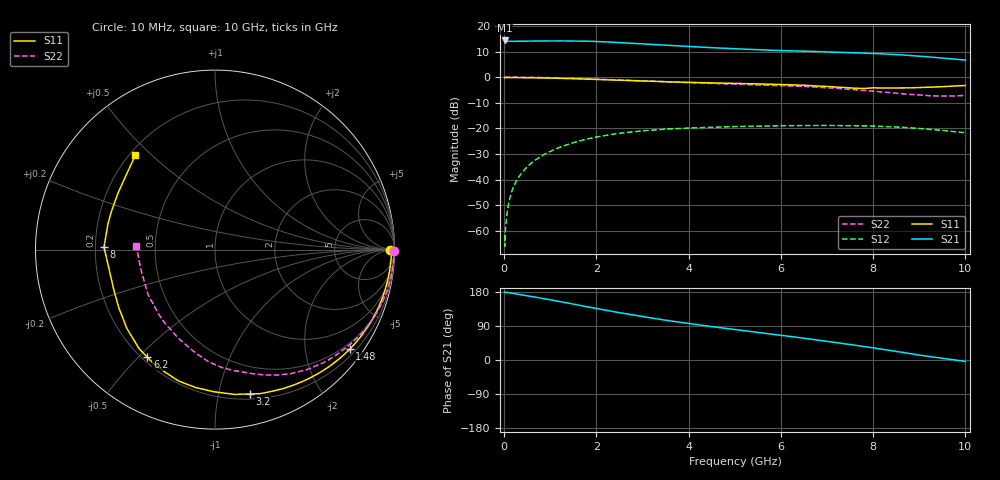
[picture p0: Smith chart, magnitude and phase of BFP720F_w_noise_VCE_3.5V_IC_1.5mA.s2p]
! Infineon Technologies  Discrete & RF Semiconductors
! BFP720F
! VCE =  3.5 V,  IC =  1.5 mA
! Common Emitter S-Parameters:  Jan 2016
# GHz  S  MA  R  50
!  f  S11  S21  S12  S22
! GHz  MAG  ANG  MAG  ANG  MAG  ANG  MAG  ANG
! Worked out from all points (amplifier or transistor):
!   233 points, 10 MHz to 10 GHz, reference 50 ohm
!   highest |S21| = 14.3 dB at 10 MHz (marker M1)
!   |S21| within 3 dB of that: start of sweep to 4.698 GHz
!   unconditionally stable (mu >= 1): nowhere
!   at 200 MHz: K = 0.02, MSG = 28.5 dB, |S12| = -43.0 dB
!   at 1.74 GHz: K = 0.13, MSG = 19.3 dB, |S12| = -24.4 dB
!   at 10 GHz: K = 0.99, MSG = 14.2 dB, |S12| = -21.7 dB
!   lowest NFmin = 0.44 dB at 450 MHz
!   S11 on the Smith chart (normalised r, x): 10 MHz: 84, +0; 1.48 GHz: 0.35, -3.00; 3.2 GHz: 0.24, -1.24; 6.2 GHz: 0.22, -0.53; 8 GHz: 0.24, +0.01; 10 GHz: 0.22, +0.45
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0.01  0.9766 0.0  5.206 179.5  0.0008 -26.2  0.9984 -0.3
0.015  0.9797 -0.2  5.08 178.8  0.0005 25.2  0.9992 -0.7
0.02  0.9829 -0.4  4.955 178.0  0.0008 76.6  1 -1.0
0.06  0.9833 -1.4  4.996 178.4  0.0021 83.9  0.9979 -1.1
0.135  0.9822 -3.1  5.016 177.0  0.0048 86.4  0.9984 -2.3
0.34  0.9789 -8.1  5.036 172.8  0.012 83.6  0.9949 -5.9
0.94  0.9606 -22.8  5.117 160.1  0.0334 72.8  0.979 -16.6
1.48  0.9334 -36.5  5.071 148.0  0.0518 62.2  0.9506 -26.6
1.68  0.92 -41.9  5.084 143.2  0.0583 58.1  0.9374 -30.4
2.38  0.8748 -59.0  4.799 127.4  0.0774 44.1  0.8872 -42.9
2.8  0.8501 -68.4  4.584 118.6  0.0858 36.3  0.8549 -49.5
3.2  0.8274 -76.5  4.365 110.9  0.092 29.5  0.8287 -54.8
3.4  0.8177 -80.3  4.271 106.9  0.0949 26.3  0.8158 -57.3
4  0.7916 -90.7  3.979 96.2  0.1015 17.5  0.781 -63.5
5.1  0.7545 -106.7  3.557 78.9  0.1088 3.6  0.7249 -72.7
6.2  0.7084 -122.1  3.266 62.2  0.1129 -9.2  0.673 -83.0
6.8  0.6704 -133.8  3.154 52.5  0.1138 -16.5  0.637 -90.7
7.4  0.6258 -149.0  3.023 42.5  0.113 -23.9  0.5872 -100.3
8  0.6186 178.7  2.905 32.1  0.111 -31.6  0.5341 -112.5
8.4  0.6132 166.6  2.795 24.6  0.1076 -37.2  0.4957 -124.3
9  0.626 149.4  2.58 13.0  0.0997 -45.6  0.4496 -145.9
10  0.6879 130.1  2.155 -3.7  0.0821 -55.7  0.4395 177.1
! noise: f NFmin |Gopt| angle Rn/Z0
0.45  0.44  0.75  5  0.37
0.9  0.55  0.75  12  0.34
1.8  0.57  0.74  25  0.28
2.4  0.59  0.74  31  0.27
5.5  0.96  0.53  91  0.17
10  1.49  0.36  -141  0.14
